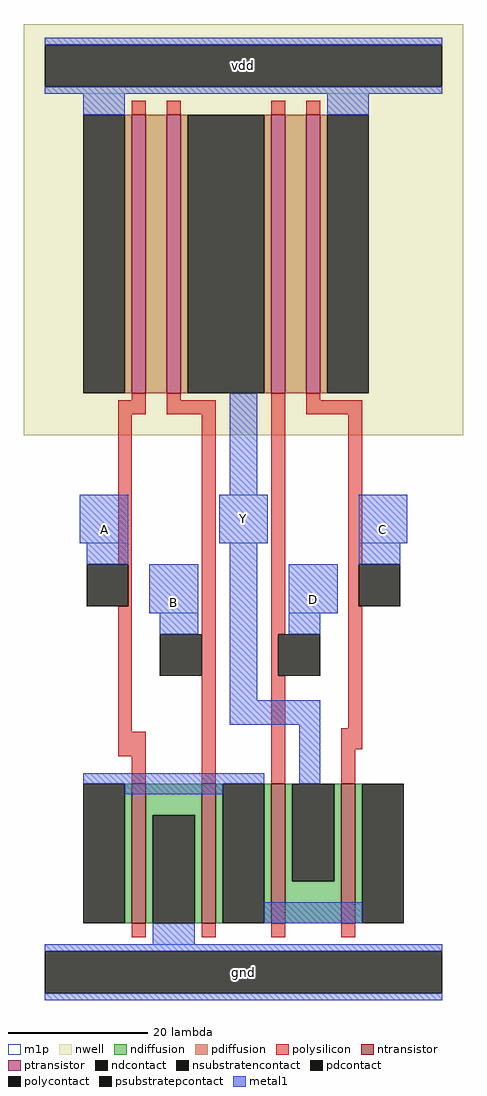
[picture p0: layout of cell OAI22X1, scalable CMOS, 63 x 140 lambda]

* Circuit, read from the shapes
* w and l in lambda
.subckt OAI22X1 A B C D Y vdd gnd
M1 gnd A n1 gnd nfet w=20 l=2
M2 n1 B gnd gnd nfet w=20 l=2
M3 Y D n1 gnd nfet w=20 l=2
M4 n1 C Y gnd nfet w=20 l=2
M5 n2 A vdd vdd pfet w=40 l=2
M6 Y B n2 vdd pfet w=40 l=2
M7 n3 D Y vdd pfet w=40 l=2
M8 vdd C n3 vdd pfet w=40 l=2
.ends

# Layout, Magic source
magic
tech scmos
magscale 1 2
<< nwell >>
rect -13 154 113 272
<< ntransistor >>
rect 18 14 22 54
rect 38 14 42 54
rect 58 14 62 54
rect 78 14 82 54
<< ptransistor >>
rect 18 166 22 246
rect 28 166 32 246
rect 58 166 62 246
rect 68 166 72 246
<< ndiffusion >>
rect 16 14 18 54
rect 22 45 38 54
rect 22 14 24 45
rect 36 14 38 45
rect 42 14 44 54
rect 56 14 58 54
rect 62 26 64 54
rect 76 26 78 54
rect 62 14 78 26
rect 82 14 84 54
<< pdiffusion >>
rect 16 166 18 246
rect 22 166 28 246
rect 32 166 34 246
rect 56 166 58 246
rect 62 166 68 246
rect 72 166 74 246
<< ndcontact >>
rect 4 14 16 54
rect 24 14 36 45
rect 44 14 56 54
rect 64 26 76 54
rect 84 14 96 54
<< pdcontact >>
rect 4 166 16 246
rect 34 166 56 246
rect 74 166 86 246
<< psubstratepcontact >>
rect -7 -6 107 6
<< nsubstratencontact >>
rect -7 254 107 266
<< polysilicon >>
rect 18 246 22 250
rect 28 246 32 250
rect 58 246 62 250
rect 68 246 72 250
rect 18 164 22 166
rect 14 160 22 164
rect 28 164 32 166
rect 28 160 42 164
rect 14 117 18 160
rect 17 105 18 117
rect 14 69 18 105
rect 14 62 22 69
rect 18 54 22 62
rect 38 54 42 160
rect 58 97 62 166
rect 68 164 72 166
rect 68 160 84 164
rect 80 117 84 160
rect 80 105 83 117
rect 58 85 60 97
rect 58 54 62 85
rect 80 70 84 105
rect 78 64 84 70
rect 78 54 82 64
rect 18 10 22 14
rect 38 10 42 14
rect 58 10 62 14
rect 78 10 82 14
<< polycontact >>
rect 5 105 17 117
rect 26 85 38 97
rect 83 105 95 117
rect 60 85 72 97
<< metal1 >>
rect -7 266 107 268
rect -7 252 107 254
rect 4 246 16 252
rect 74 246 86 252
rect 46 137 54 166
rect 3 123 17 137
rect 43 123 57 137
rect 83 123 97 137
rect 5 117 17 123
rect 23 103 37 117
rect 26 97 37 103
rect 46 78 54 123
rect 83 117 95 123
rect 63 103 77 117
rect 63 97 72 103
rect 46 71 72 78
rect 4 54 56 57
rect 66 54 72 71
rect 16 51 44 54
rect 56 14 84 20
rect 24 8 36 14
rect -7 6 107 8
rect -7 -8 107 -6
<< m1p >>
rect -7 252 107 268
rect 3 123 17 137
rect 43 123 57 137
rect 83 123 97 137
rect 23 103 37 117
rect 63 103 77 117
rect -7 -8 107 8
<< labels >>
rlabel nsubstratencontact 50 260 50 260 0 vdd
port 6 nsew power bidirectional abutment
rlabel psubstratepcontact 50 0 50 0 0 gnd
port 7 nsew ground bidirectional abutment
rlabel metal1 10 127 10 127 0 A
port 1 nsew signal input
rlabel metal1 90 127 90 127 0 C
port 3 nsew signal input
rlabel metal1 50 130 50 130 0 Y
port 5 nsew signal output
rlabel metal1 30 106 30 106 0 B
port 2 nsew signal input
rlabel metal1 70 107 70 107 0 D
port 4 nsew signal input
<< properties >>
string FIXED_BBOX 0 0 100 260
string LEFclass CORE
string LEFsite core
string LEFsymmetry X Y
<< end >>
